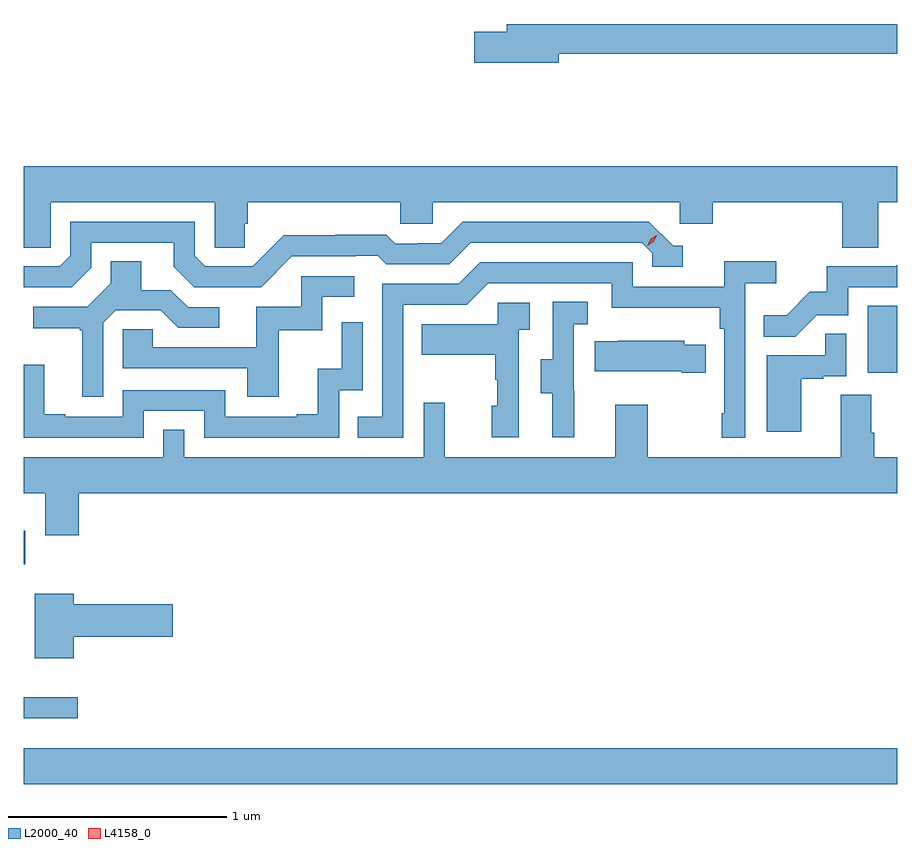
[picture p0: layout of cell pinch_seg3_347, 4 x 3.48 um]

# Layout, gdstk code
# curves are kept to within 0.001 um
import gdstk
lib = gdstk.Library(unit=1e-6, precision=1e-09)
def R(c, l, rs):  # rectangles x0, y0, x1, y1
    for r in rs: c.add(gdstk.rectangle(r[:2], r[2:], *l))
def P(c, l, *ps):  # polygons
    for p in ps: c.add(gdstk.Polygon(p, *l))
L2000_40 = (2000, 40)
L4158_0 = (4158, 0)

pinch_seg3_347 = lib.new_cell('pinch_seg3_347')
R(pinch_seg3_347, L2000_40, [(1011.536,690.26,1015.536,690.424), (1011.536,690.56,1011.784,690.657), (1011.536,691.266,1011.544,691.42), (1015.4,692.142,1015.536,692.449)])
P(pinch_seg3_347, L2000_40, [(1013.986,693.604),(1015.536,693.604),(1015.536,693.74),(1013.747,693.74),(1013.747,693.704),(1013.598,693.704),(1013.598,693.562),(1013.986,693.562)],
  [(1011.66,692.924),(1012.41,692.924),(1012.41,692.716),(1012.547,692.716),(1012.547,692.826),(1012.562,692.826),(1012.562,692.924),(1013.259,692.924),(1013.259,692.826),(1013.409,692.826),(1013.409,692.924),(1014.54,692.924),(1014.54,692.826),(1014.692,692.826),(1014.692,692.924),(1015.283,692.924),(1015.283,692.716),(1015.448,692.716),(1015.448,692.924),(1015.536,692.924),(1015.536,693.088),(1011.536,693.088),(1011.536,692.716),(1011.66,692.716)],
  [(1011.54,692.535),(1011.756,692.535),(1011.846,692.625),(1011.846,692.739),(1012.223,692.739),(1012.223,692.629),(1012.317,692.535),(1012.623,692.535),(1012.764,692.676),(1013.057,692.676),(1013.057,692.679),(1013.156,692.679),(1013.195,692.64),(1013.484,692.64),(1013.583,692.739),(1014.366,692.739),(1014.414,692.691),(1014.414,692.628),(1014.553,692.628),(1014.553,692.724),(1014.51,692.724),(1014.399,692.835),(1013.546,692.835),(1013.447,692.736),(1013.34,692.736),(1013.34,692.733),(1013.237,692.733),(1013.195,692.776),(1012.962,692.776),(1012.962,692.773),(1012.726,692.773),(1012.584,692.631),(1012.368,692.631),(1012.32,692.679),(1012.32,692.835),(1011.75,692.835),(1011.75,692.679),(1011.702,692.631),(1011.536,692.631),(1011.536,692.534)],
  [(1011.9,692.373),(1011.957,692.43),(1012.163,692.43),(1012.244,692.349),(1012.432,692.349),(1012.432,692.442),(1012.29,692.442),(1012.21,692.522),(1012.075,692.522),(1012.075,692.654),(1011.935,692.654),(1011.935,692.552),(1011.828,692.445),(1011.579,692.445),(1011.579,692.348),(1011.792,692.348),(1011.792,692.337),(1011.803,692.337),(1011.803,692.034),(1011.9,692.034)],
  [(1013.274,692.454),(1013.565,692.454),(1013.664,692.553),(1014.228,692.553),(1014.228,692.441),(1014.724,692.441),(1014.724,692.345),(1014.744,692.345),(1014.744,691.957),(1014.732,691.957),(1014.732,691.845),(1014.84,691.845),(1014.84,692.552),(1014.982,692.552),(1014.982,692.654),(1014.743,692.654),(1014.743,692.538),(1014.324,692.538),(1014.324,692.649),(1013.627,692.649),(1013.528,692.55),(1013.178,692.55),(1013.178,691.941),(1013.065,691.941),(1013.065,691.845),(1013.274,691.845)],
  [(1015.167,692.406),(1015.311,692.406),(1015.311,692.535),(1015.536,692.535),(1015.536,692.636),(1015.531,692.636),(1015.531,692.631),(1015.213,692.631),(1015.213,692.514),(1015.136,692.514),(1015.029,692.407),(1014.925,692.407),(1014.925,692.308),(1015.069,692.308)],
  [(1012.703,692.337),(1012.902,692.337),(1012.902,692.49),(1013.05,692.49),(1013.05,692.586),(1012.806,692.586),(1012.806,692.445),(1012.601,692.445),(1012.601,692.259),(1012.127,692.259),(1012.127,692.343),(1011.99,692.343),(1011.99,692.163),(1012.559,692.163),(1012.559,692.034),(1012.703,692.034)],
  [(1014.056,692.061),(1014.054,692.061),(1014.054,692.365),(1014.118,692.365),(1014.118,692.468),(1013.958,692.468),(1013.958,692.205),(1013.903,692.205),(1013.903,692.05),(1013.957,692.05),(1013.957,691.848),(1014.056,691.848)],
  [(1013.802,692.339),(1013.854,692.339),(1013.854,692.463),(1013.706,692.463),(1013.706,692.365),(1013.359,692.365),(1013.359,692.225),(1013.694,692.225),(1013.694,692.111),(1013.704,692.111),(1013.704,691.992),(1013.678,691.992),(1013.678,691.848),(1013.802,691.848)],
  [(1012.086,691.968),(1012.362,691.968),(1012.362,691.845),(1012.98,691.845),(1012.98,692.064),(1013.088,692.064),(1013.088,692.374),(1012.992,692.374),(1012.992,692.162),(1012.883,692.162),(1012.883,691.954),(1012.787,691.954),(1012.787,691.941),(1012.458,691.941),(1012.458,692.064),(1011.99,692.064),(1011.99,691.941),(1011.727,691.941),(1011.727,691.954),(1011.631,691.954),(1011.631,692.179),(1011.536,692.179),(1011.536,691.845),(1012.086,691.845)],
  [(1015.096,692.115),(1015.196,692.115),(1015.196,692.127),(1015.302,692.127),(1015.302,692.321),(1015.207,692.321),(1015.207,692.223),(1014.938,692.223),(1014.938,691.872),(1015.096,691.872)],
  [(1014.659,692.272),(1014.561,692.272),(1014.561,692.29),(1014.259,692.29),(1014.259,692.287),(1014.151,692.287),(1014.151,692.15),(1014.548,692.15),(1014.548,692.143),(1014.659,692.143)],
  [(1011.788,691.592),(1015.536,691.592),(1015.536,691.756),(1015.43,691.756),(1015.43,691.868),(1015.417,691.868),(1015.417,692.042),(1015.277,692.042),(1015.277,691.756),(1014.393,691.756),(1014.393,691.996),(1014.245,691.996),(1014.245,691.756),(1013.465,691.756),(1013.465,692.005),(1013.367,692.005),(1013.367,691.756),(1012.272,691.756),(1012.272,691.883),(1012.176,691.883),(1012.176,691.756),(1011.536,691.756),(1011.536,691.592),(1011.635,691.592),(1011.635,691.398),(1011.788,691.398)],
  [(1011.766,690.935),(1012.219,690.935),(1012.219,691.082),(1011.766,691.082),(1011.766,691.132),(1011.587,691.132),(1011.587,690.836),(1011.766,690.836)])
P(pinch_seg3_347, L4158_0, [(1014.39,692.725),(1014.39,692.725),(1014.407,692.757),(1014.438,692.776),(1014.438,692.776),(1014.438,692.776),(1014.422,692.744),(1014.391,692.725)])

lib.write_gds('pinch_seg3_347.gds')
